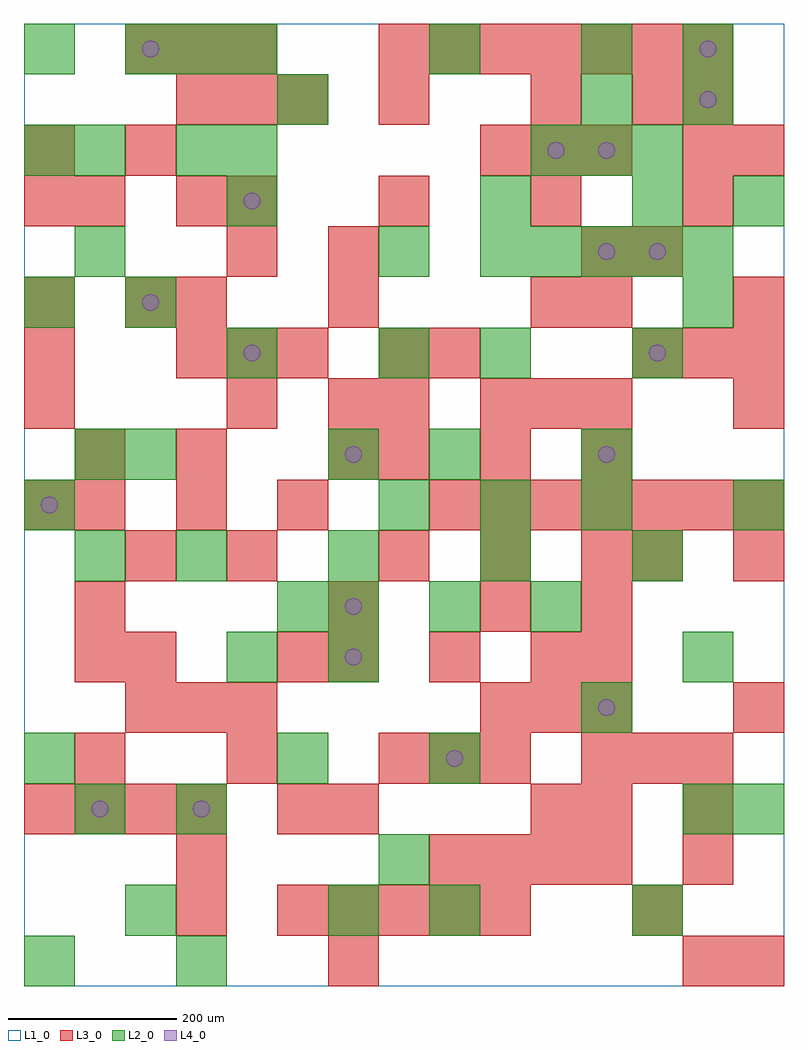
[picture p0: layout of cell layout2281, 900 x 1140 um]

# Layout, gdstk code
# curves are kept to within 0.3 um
import gdstk
lib = gdstk.Library(unit=1e-6, precision=1e-09)
def R(c, l, rs):  # rectangles x0, y0, x1, y1
    for r in rs: c.add(gdstk.rectangle(r[:2], r[2:], *l))
def A(c, l, x, y, w, h, nx, ny, dx, dy):  # array of equal rectangles
    R(c, l, [(x+i*dx, y+j*dy, x+i*dx+w, y+j*dy+h) for i in range(nx) for j in range(ny)])
def P(c, l, *ps):  # polygons
    for p in ps: c.add(gdstk.Polygon(p, *l))
L1_0 = (1, 0)
L2_0 = (2, 0)
L3_0 = (3, 0)
L4_0 = (4, 0)

layout2281 = lib.new_cell('layout2281')
R(layout2281, L1_0, [(0,0,900,1140)])
A(layout2281, L2_0, 840, 180, 60, 60, 1, 3, 0, 360)
A(layout2281, L2_0, 360, 420, 60, 60, 3, 1, 120, 0)
A(layout2281, L2_0, 180, 480, 60, 60, 4, 1, 180, 0)
A(layout2281, L2_0, 420, 540, 60, 60, 3, 1, 120, 0)
A(layout2281, L2_0, 540, 840, 60, 60, 5, 1, 60, 0)
A(layout2281, L2_0, 600, 960, 60, 60, 3, 1, 60, 0)
A(layout2281, L2_0, 120, 1080, 60, 60, 3, 1, 60, 0)
R(layout2281, L2_0, [(0,0,60,60), (180,0,240,60), (120,60,180,120), (360,60,420,120), (480,60,540,120), (720,60,780,120), (420,120,480,180), (60,180,120,240), (180,180,240,240), (780,180,840,240), (0,240,60,300), (300,240,360,300), (480,240,540,300), (660,300,720,360), (240,360,300,420), (360,360,420,420), (780,360,840,420), (300,420,360,480), (60,480,120,540), (0,540,60,600), (60,600,120,660), (120,600,180,660), (360,600,420,660), (480,600,540,660), (660,600,720,660), (240,720,300,780), (420,720,480,780), (540,720,600,780), (720,720,780,780), (0,780,60,840), (120,780,180,840), (780,780,840,840), (60,840,120,900), (420,840,480,900), (240,900,300,960), (540,900,600,960), (720,900,780,960), (0,960,60,1020), (60,960,120,1020), (180,960,240,1020), (240,960,300,1020), (300,1020,360,1080), (660,1020,720,1080), (780,1020,840,1080), (0,1080,60,1140), (480,1080,540,1140), (660,1080,720,1140), (780,1080,840,1140)])
A(layout2281, L3_0, 300, 60, 60, 60, 5, 1, 60, 0)
A(layout2281, L3_0, 480, 120, 60, 60, 4, 1, 60, 0)
A(layout2281, L3_0, 0, 180, 60, 60, 4, 1, 60, 0)
A(layout2281, L3_0, 60, 240, 60, 60, 3, 1, 180, 0)
A(layout2281, L3_0, 660, 240, 60, 60, 3, 1, 60, 0)
A(layout2281, L3_0, 120, 300, 60, 60, 3, 2, 60, 780)
A(layout2281, L3_0, 540, 300, 60, 60, 3, 2, 60, 360)
A(layout2281, L3_0, 840, 300, 60, 60, 1, 3, 0, 180)
A(layout2281, L3_0, 360, 360, 60, 60, 3, 1, 120, 0)
A(layout2281, L3_0, 240, 480, 60, 60, 1, 3, 0, 180)
A(layout2281, L3_0, 420, 480, 60, 60, 3, 2, 120, 120)
A(layout2281, L3_0, 60, 540, 60, 60, 3, 1, 120, 0)
A(layout2281, L3_0, 480, 540, 60, 60, 7, 1, 60, 0)
A(layout2281, L3_0, 0, 660, 60, 60, 1, 3, 0, 60)
A(layout2281, L3_0, 180, 720, 60, 60, 3, 2, 60, 300)
A(layout2281, L3_0, 720, 720, 60, 60, 3, 1, 60, 0)
A(layout2281, L3_0, 240, 900, 60, 60, 4, 1, 180, 0)
A(layout2281, L3_0, 540, 960, 60, 60, 3, 1, 60, 0)
A(layout2281, L3_0, 420, 1080, 60, 60, 7, 1, 60, 0)
R(layout2281, L3_0, [(360,0,420,60), (780,0,840,60), (840,0,900,60), (180,60,240,120), (720,60,780,120), (180,120,240,180), (780,120,840,180), (300,180,360,240), (360,180,420,240), (600,180,660,240), (660,180,720,240), (780,180,840,240), (480,240,540,300), (540,240,600,300), (60,360,120,420), (120,360,180,420), (300,360,360,420), (660,360,720,420), (60,420,120,480), (360,420,420,480), (540,420,600,480), (660,420,720,480), (120,480,180,540), (720,480,780,540), (0,540,60,600), (60,600,120,660), (180,600,240,660), (360,600,420,660), (360,660,420,720), (420,660,480,720), (420,720,480,780), (480,720,540,780), (120,780,180,840), (180,780,240,840), (360,780,420,840), (600,780,660,840), (660,780,720,840), (840,780,900,840), (360,840,420,900), (660,840,720,900), (720,840,780,900), (0,900,60,960), (60,900,120,960), (180,900,240,960), (0,960,60,1020), (120,960,180,1020), (780,960,840,1020), (840,960,900,1020), (420,1020,480,1080), (600,1020,660,1080), (720,1020,780,1080), (780,1020,840,1080)])
P(layout2281, L4_0, [(40,570),(39.239,573.827),(37.071,577.071),(33.827,579.239),(30,580),(26.173,579.239),(22.929,577.071),(20.761,573.827),(20,570),(20.761,566.173),(22.929,562.929),(26.173,560.761),(30,560),(33.827,560.761),(37.071,562.929),(39.239,566.173)],
  [(100,210),(99.239,213.827),(97.071,217.071),(93.827,219.239),(90,220),(86.173,219.239),(82.929,217.071),(80.761,213.827),(80,210),(80.761,206.173),(82.929,202.929),(86.173,200.761),(90,200),(93.827,200.761),(97.071,202.929),(99.239,206.173)],
  [(160,810),(159.239,813.827),(157.071,817.071),(153.827,819.239),(150,820),(146.173,819.239),(142.929,817.071),(140.761,813.827),(140,810),(140.761,806.173),(142.929,802.929),(146.173,800.761),(150,800),(153.827,800.761),(157.071,802.929),(159.239,806.173)],
  [(160,1110),(159.239,1113.827),(157.071,1117.071),(153.827,1119.239),(150,1120),(146.173,1119.239),(142.929,1117.071),(140.761,1113.827),(140,1110),(140.761,1106.173),(142.929,1102.929),(146.173,1100.761),(150,1100),(153.827,1100.761),(157.071,1102.929),(159.239,1106.173)],
  [(220,210),(219.239,213.827),(217.071,217.071),(213.827,219.239),(210,220),(206.173,219.239),(202.929,217.071),(200.761,213.827),(200,210),(200.761,206.173),(202.929,202.929),(206.173,200.761),(210,200),(213.827,200.761),(217.071,202.929),(219.239,206.173)],
  [(280,750),(279.239,753.827),(277.071,757.071),(273.827,759.239),(270,760),(266.173,759.239),(262.929,757.071),(260.761,753.827),(260,750),(260.761,746.173),(262.929,742.929),(266.173,740.761),(270,740),(273.827,740.761),(277.071,742.929),(279.239,746.173)],
  [(280,930),(279.239,933.827),(277.071,937.071),(273.827,939.239),(270,940),(266.173,939.239),(262.929,937.071),(260.761,933.827),(260,930),(260.761,926.173),(262.929,922.929),(266.173,920.761),(270,920),(273.827,920.761),(277.071,922.929),(279.239,926.173)],
  [(400,390),(399.239,393.827),(397.071,397.071),(393.827,399.239),(390,400),(386.173,399.239),(382.929,397.071),(380.761,393.827),(380,390),(380.761,386.173),(382.929,382.929),(386.173,380.761),(390,380),(393.827,380.761),(397.071,382.929),(399.239,386.173)],
  [(400,450),(399.239,453.827),(397.071,457.071),(393.827,459.239),(390,460),(386.173,459.239),(382.929,457.071),(380.761,453.827),(380,450),(380.761,446.173),(382.929,442.929),(386.173,440.761),(390,440),(393.827,440.761),(397.071,442.929),(399.239,446.173)],
  [(400,630),(399.239,633.827),(397.071,637.071),(393.827,639.239),(390,640),(386.173,639.239),(382.929,637.071),(380.761,633.827),(380,630),(380.761,626.173),(382.929,622.929),(386.173,620.761),(390,620),(393.827,620.761),(397.071,622.929),(399.239,626.173)],
  [(520,270),(519.239,273.827),(517.071,277.071),(513.827,279.239),(510,280),(506.173,279.239),(502.929,277.071),(500.761,273.827),(500,270),(500.761,266.173),(502.929,262.929),(506.173,260.761),(510,260),(513.827,260.761),(517.071,262.929),(519.239,266.173)],
  [(640,990),(639.239,993.827),(637.071,997.071),(633.827,999.239),(630,1000),(626.173,999.239),(622.929,997.071),(620.761,993.827),(620,990),(620.761,986.173),(622.929,982.929),(626.173,980.761),(630,980),(633.827,980.761),(637.071,982.929),(639.239,986.173)],
  [(700,330),(699.239,333.827),(697.071,337.071),(693.827,339.239),(690,340),(686.173,339.239),(682.929,337.071),(680.761,333.827),(680,330),(680.761,326.173),(682.929,322.929),(686.173,320.761),(690,320),(693.827,320.761),(697.071,322.929),(699.239,326.173)],
  [(700,630),(699.239,633.827),(697.071,637.071),(693.827,639.239),(690,640),(686.173,639.239),(682.929,637.071),(680.761,633.827),(680,630),(680.761,626.173),(682.929,622.929),(686.173,620.761),(690,620),(693.827,620.761),(697.071,622.929),(699.239,626.173)],
  [(700,870),(699.239,873.827),(697.071,877.071),(693.827,879.239),(690,880),(686.173,879.239),(682.929,877.071),(680.761,873.827),(680,870),(680.761,866.173),(682.929,862.929),(686.173,860.761),(690,860),(693.827,860.761),(697.071,862.929),(699.239,866.173)],
  [(700,990),(699.239,993.827),(697.071,997.071),(693.827,999.239),(690,1000),(686.173,999.239),(682.929,997.071),(680.761,993.827),(680,990),(680.761,986.173),(682.929,982.929),(686.173,980.761),(690,980),(693.827,980.761),(697.071,982.929),(699.239,986.173)],
  [(760,750),(759.239,753.827),(757.071,757.071),(753.827,759.239),(750,760),(746.173,759.239),(742.929,757.071),(740.761,753.827),(740,750),(740.761,746.173),(742.929,742.929),(746.173,740.761),(750,740),(753.827,740.761),(757.071,742.929),(759.239,746.173)],
  [(760,870),(759.239,873.827),(757.071,877.071),(753.827,879.239),(750,880),(746.173,879.239),(742.929,877.071),(740.761,873.827),(740,870),(740.761,866.173),(742.929,862.929),(746.173,860.761),(750,860),(753.827,860.761),(757.071,862.929),(759.239,866.173)],
  [(820,1050),(819.239,1053.827),(817.071,1057.071),(813.827,1059.239),(810,1060),(806.173,1059.239),(802.929,1057.071),(800.761,1053.827),(800,1050),(800.761,1046.173),(802.929,1042.929),(806.173,1040.761),(810,1040),(813.827,1040.761),(817.071,1042.929),(819.239,1046.173)],
  [(820,1110),(819.239,1113.827),(817.071,1117.071),(813.827,1119.239),(810,1120),(806.173,1119.239),(802.929,1117.071),(800.761,1113.827),(800,1110),(800.761,1106.173),(802.929,1102.929),(806.173,1100.761),(810,1100),(813.827,1100.761),(817.071,1102.929),(819.239,1106.173)])

lib.write_gds('layout2281.gds')
